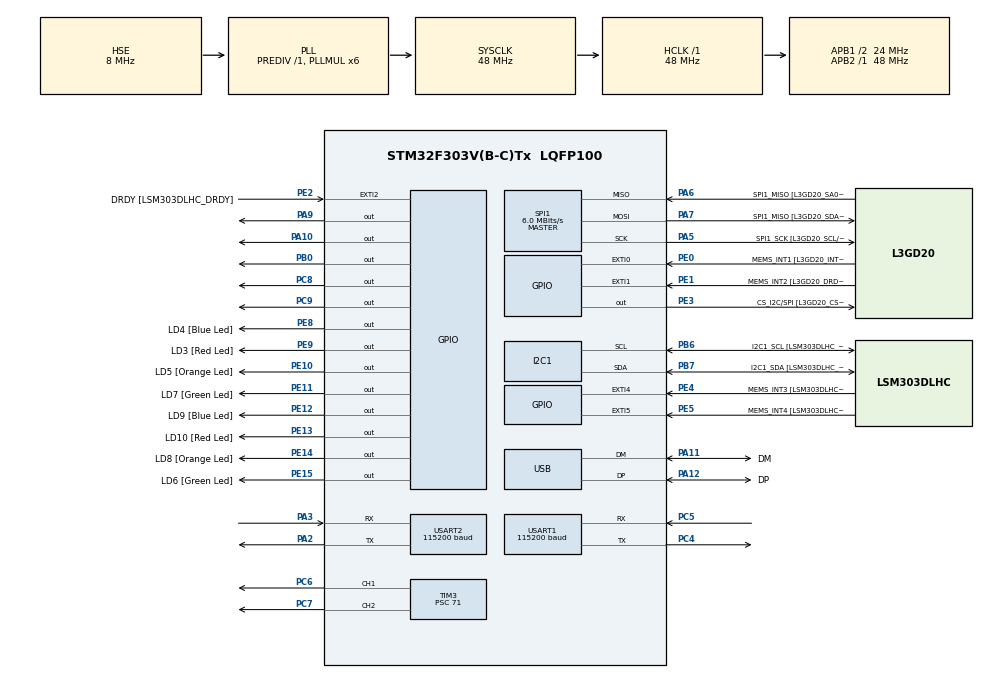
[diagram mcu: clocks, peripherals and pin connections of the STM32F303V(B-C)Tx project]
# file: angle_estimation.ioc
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I2C1.Timing=0x00201D2B
I2C1.Timing-I2C=0x2000090E
Mcu.Family=STM32F3
Mcu.Name=STM32F303V(B-C)Tx
Mcu.Package=LQFP100
NVIC.PriorityGroup=NVIC_PRIORITYGROUP_0
NVIC.SPI1_IRQn=true\:0\:0\:false\:false\:true\:true\:true\:true
NVIC.TIM2_IRQn=true\:0\:0\:false\:false\:true\:true\:true\:true
NVIC.USB_LP_CAN_RX0_IRQn=true\:0\:0\:false\:false\:true\:false\:true\:true
PA0.Signal=S_TIM2_CH1_ETR
PA10.Signal=GPIO_Output
PA11.GPIO_Label=DM
PA11.Mode=Device
PA11.Signal=USB_DM
PA12.GPIO_Label=DP
PA12.Mode=Device
PA12.Signal=USB_DP
PA13.GPIO_Label=SWDIO
PA13.Mode=Serial_Wire
PA13.Signal=SYS_JTMS-SWDIO
PA14.GPIO_Label=SWCLK
PA14.Mode=Serial_Wire
PA14.Signal=SYS_JTCK-SWCLK
PA2.Mode=Asynchronous
PA2.Signal=USART2_TX
PA3.Mode=Asynchronous
PA3.Signal=USART2_RX
PA5.GPIO_Label=SPI1_SCK [L3GD20_SCL/SPC]
PA5.Mode=Full_Duplex_Master
PA5.Signal=SPI1_SCK
PA6.GPIO_Label=SPI1_MISO [L3GD20_SA0/SDO]
PA6.Mode=Full_Duplex_Master
PA6.Signal=SPI1_MISO
PA7.GPIO_Label=SPI1_MISO [L3GD20_SDA/SDI/SDO]
PA7.Mode=Full_Duplex_Master
PA7.Signal=SPI1_MOSI
PA9.Signal=GPIO_Output
PB0.Signal=GPIO_Output
PB3.GPIO_Label=SWO
PB3.Signal=SYS_JTDO-TRACESWO
PB6.GPIO_Label=I2C1_SCL [LSM303DLHC_SCL]
PB6.GPIO_Pu=GPIO_PULLUP
PB6.Mode=I2C
PB6.Signal=I2C1_SCL
PB7.GPIO_Label=I2C1_SDA [LSM303DLHC_SDA]
PB7.GPIO_Pu=GPIO_PULLUP
PB7.Mode=I2C
PB7.Signal=I2C1_SDA
PC14-OSC32_IN.GPIO_Label=OSC32_IN
PC14-OSC32_IN.Signal=RCC_OSC32_IN
PC15-OSC32_OUT.GPIO_Label=OSC32_OUT
PC15-OSC32_OUT.Signal=RCC_OSC32_OUT
PC4.Mode=Asynchronous
PC4.Signal=USART1_TX
PC5.Mode=Asynchronous
PC5.Signal=USART1_RX
PC6.Signal=S_TIM3_CH1
PC7.Signal=S_TIM3_CH2
PC8.Signal=GPIO_Output
PC9.Signal=GPIO_Output
PE0.GPIO_Label=MEMS_INT1 [L3GD20_INT1]
PE0.GPIO_ModeDefaultEXTI=GPIO_MODE_EVT_RISING
PE0.Signal=GPXTI0
PE1.GPIO_Label=MEMS_INT2 [L3GD20_DRDY/INT2]
PE1.GPIO_ModeDefaultEXTI=GPIO_MODE_EVT_RISING
PE1.Signal=GPXTI1
PE10.GPIO_Label=LD5 [Orange Led]
PE10.Signal=GPIO_Output
PE11.GPIO_Label=LD7 [Green Led]
PE11.Signal=GPIO_Output
PE12.GPIO_Label=LD9 [Blue Led]
PE12.Signal=GPIO_Output
PE13.GPIO_Label=LD10 [Red Led]
PE13.Signal=GPIO_Output
PE14.GPIO_Label=LD8 [Orange Led]
PE14.Signal=GPIO_Output
PE15.GPIO_Label=LD6 [Green Led]
PE15.Signal=GPIO_Output
PE2.GPIO_Label=DRDY [LSM303DLHC_DRDY]
PE2.GPIO_ModeDefaultEXTI=GPIO_MODE_EVT_RISING
PE2.Signal=GPXTI2
PE3.GPIO_Label=CS_I2C/SPI [L3GD20_CS_I2C/SPI]
PE3.Signal=GPIO_Output
PE4.GPIO_Label=MEMS_INT3 [LSM303DLHC_INT1]
PE4.GPIO_ModeDefaultEXTI=GPIO_MODE_EVT_RISING
PE4.Signal=GPXTI4
PE5.GPIO_Label=MEMS_INT4 [LSM303DLHC_INT2]
PE5.GPIO_ModeDefaultEXTI=GPIO_MODE_EVT_RISING
PE5.Signal=GPXTI5
PE8.GPIO_Label=LD4 [Blue Led]
PE8.Signal=GPIO_Output
PE9.GPIO_Label=LD3 [Red Led]
PE9.Signal=GPIO_Output
PF0-OSC_IN.GPIO_Label=OSC_IN
PF0-OSC_IN.Mode=HSE-External-Clock-Source
PF0-OSC_IN.Signal=RCC_OSC_IN
PF1-OSC_OUT.GPIO_Label=OSC_OUT
PF1-OSC_OUT.Signal=RCC_OSC_OUT
ProjectManager.HeapSize=0x200
ProjectManager.StackSize=0x400
ProjectManager.TargetToolchain=CMake
RCC.AHBFreq_Value=48000000
RCC.APB1CLKDivider=RCC_HCLK_DIV2
RCC.APB1Freq_Value=24000000
RCC.APB1TimFreq_Value=48000000
RCC.APB2Freq_Value=48000000
RCC.APB2TimFreq_Value=48000000
RCC.CortexFreq_Value=48000000
RCC.HCLKFreq_Value=48000000
RCC.HSE_VALUE=8000000
RCC.HSI_VALUE=8000000
RCC.LSE_VALUE=32768
RCC.PLLMUL=RCC_PLL_MUL6
RCC.SYSCLKFreq_VALUE=48000000
RCC.SYSCLKSourceVirtual=RCC_SYSCLKSOURCE_PLLCLK
RCC.USBFreq_Value=48000000
SH.S_TIM2_CH1_ETR.0=TIM2_CH1
SH.S_TIM3_CH1.0=TIM3_CH1,PWM Generation1 CH1
SH.S_TIM3_CH2.0=TIM3_CH2,PWM Generation2 CH2
SPI1.BaudRatePrescaler=SPI_BAUDRATEPRESCALER_8
SPI1.BaudRatePrescaler-Full_Duplex_Master=SPI_BAUDRATEPRESCALER_2
SPI1.CLKPhase=SPI_PHASE_2EDGE
SPI1.CLKPolarity=SPI_POLARITY_HIGH
SPI1.CalculateBaudRate=6.0 MBits/s
SPI1.CalculateBaudRate-Full_Duplex_Master=24.0 MBits/s
SPI1.DataSize=SPI_DATASIZE_8BIT
SPI1.Direction=SPI_DIRECTION_2LINES
SPI1.Mode=SPI_MODE_MASTER
SPI1.Mode-Full_Duplex_Master=SPI_MODE_MASTER
SPI1.VirtualType=VM_MASTER
STMicroelectronics.X-CUBE-ALGOBUILD.1.4.0.LibraryCcDSPOoLibraryJjDSPOoLibrary=true
TIM2.Period=79
TIM2.Prescaler=5999
TIM3.Channel-PWM\ Generation1\ CH1=TIM_CHANNEL_1
TIM3.Channel-PWM\ Generation2\ CH2=TIM_CHANNEL_2
TIM3.Period=999
TIM3.Prescaler=71
USART1.BaudRate=115200
USART1.VirtualMode-Asynchronous=VM_ASYNC
USART2.BaudRate=115200
USART2.VirtualMode-Asynchronous=VM_ASYNC
USB_DEVICE.CLASS_NAME_FS=CDC
USB_DEVICE.VirtualMode=Cdc
USB_DEVICE.VirtualModeFS=Cdc_FS
VP_STMicroelectronics.X-CUBE-ALGOBUILD_VS_DSPOoLibraryJjLibrary_1.4.0_1.4.0.Mode=DSPOoLibraryJjLibrary
VP_TIM2_VS_ClockSourceINT.Mode=Internal
VP_USB_DEVICE_VS_USB_DEVICE_CDC_FS.Mode=CDC_FS
board=STM32F3DISCOVERY

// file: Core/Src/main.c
/* USER CODE BEGIN Header */
/**
  ******************************************************************************
  * @file           : main.c
  * @brief          : Main program body
  ******************************************************************************
  * @attention
  * Copyright (c) 2025 STMicroelectronics.
  * All rights reserved.
  ******************************************************************************
  */
/* USER CODE END Header */
#include "main.h"
#include "usb_device.h"

/* USER CODE BEGIN Includes */
#include <string.h>
#include <stdio.h>
#include <math.h>
#include <stdlib.h>   // ✅ abs(), labs()

#define RAD_TO_DEG 57.2957795f

// ================= CONTROL LOOP =================
#define CTRL_HZ     100.0f
#define DT_SEC      (1.0f/CTRL_HZ)     // 0.01s at 100Hz

// Complementary filter
#define ALPHA       0.98f              // 0.95–0.99 typical

// ================= AXIS / SIGN CONFIG =================
#define USE_PITCH_AXIS_Y   0   // 1 for AY-based pitch, 0 for AX-based pitch

// Flip angle direction if needed:
#define ANGLE_SIGN         (1.0f)

// Motor sign: flip if u>0 makes it fall more
#define MOTOR_SIGN         (-1.0f)
/* USER CODE END Includes */

/* USER CODE BEGIN PD */
// ---- Motor pins ----
// DIR1 = PA9, DIR2 = PA10
#define DIR1_PORT GPIOA
#define DIR1_PIN  GPIO_PIN_9
#define DIR2_PORT GPIOA
#define DIR2_PIN  GPIO_PIN_10

// PWM uses TIM3 CH1
#define PWM_TIMER   htim3
#define PWM_CH      TIM_CHANNEL_1
#define PWM_MAX     999   // TIM3 period = 999

// ---- Motor B pins ----
// DIR3 = PC8, DIR4 = PC9
#define DIR3_PORT GPIOC
#define DIR3_PIN  GPIO_PIN_8
#define DIR4_PORT GPIOC
#define DIR4_PIN  GPIO_PIN_9

// PWM B uses TIM3 CH2
#define PWM_CH_B  TIM_CHANNEL_2

static inline void Motors_SetDirection(int dir);
static inline void Motors_SetPWM(uint16_t pwm);
/* USER CODE END PD */

I2C_HandleTypeDef hi2c1;
SPI_HandleTypeDef hspi1;

TIM_HandleTypeDef htim2;
TIM_HandleTypeDef htim3;

UART_HandleTypeDef huart1;
UART_HandleTypeDef huart2;

/* USER CODE BEGIN PV */
/* -------- LSM303AGR (Accel over I2C) -------- */
#define LSM_A_ADDR_W      0x32
#define LSM_A_ADDR_R      0x33
#define LSM_A_CTRL1       0x20
#define LSM_A_CTRL4       0x23
#define LSM_A_OUT_X_L     0x28
#define LSM_A_AUTO_INC    0x80
#define LSM_A_G_PER_LSB   0.0039f   // g/LSB

/* -------- L3GD20 style Gyro (SPI) -------- */
#define GYRO_REG_WHOAMI    0x0F
#define GYRO_REG_CTRL1     0x20
#define GYRO_REG_CTRL4     0x23
#define GYRO_REG_OUT_X_L   0x28
#define GYRO_SPI_READ      0x80
#define GYRO_SPI_AUTO_INC  0x40

#define GYRO_CS_LOW()   HAL_GPIO_WritePin(GPIOE, CS_I2C_SPI_Pin, GPIO_PIN_RESET)
#define GYRO_CS_HIGH()  HAL_GPIO_WritePin(GPIOE, CS_I2C_SPI_Pin, GPIO_PIN_SET)

#define GYRO_DPS_PER_LSB  0.00875f  // ±250 dps scale

typedef struct {
    // raw values
    int16_t arx, ary, arz;
    int16_t grx, gry, grz;

    // converted values
    float ax, ay, az;   // g
    float gx, gy, gz;   // dps

    // calibrated
    float ax_off, ay_off, az_off;
    float gx_off, gy_off, gz_off;
} imu_t;

volatile uint8_t doCtrl = 0;   // set in TIM2 ISR @100Hz

static imu_t imu;

// ===== PID state =====
static float prev_angle = 0.0f; // previous angle for derivative calculation

// ===== Gains (tune) =====
static float Kp = 18.0f; // proportional gain
static float Ki = 0.6f; // integral gain
static float Kd = 1.2f;  // derivative gain

// scale to PWM
#define U_SCALE  30.0f

static float angle_deg = 0.0f;
static float accel_angle = 0.0f; // from accelerometer
static float gyro_rate = 0.0f;  // angular rate from gyro

static float pid_integral = 0.0f; // integral term
static float last_error = 0.0f; // for integral windup check

// Upright setpoint (deg) — tune mechanical offset
static float setpoint_deg = 0.0f; // target angle
/* USER CODE END PV */

void SystemClock_Config(void);
static void MX_GPIO_Init(void);
static void MX_I2C1_Init(void);
static void MX_SPI1_Init(void);
static void MX_TIM2_Init(void);
static void MX_USART1_UART_Init(void);
static void MX_USART2_UART_Init(void);
static void MX_TIM3_Init(void);
/* USER CODE BEGIN PFP */
HAL_StatusTypeDef LSM_Accel_Init(void);
HAL_StatusTypeDef LSM_Accel_Read(imu_t *m);

uint8_t gyro_read_u8(uint8_t reg);
void    gyro_write_u8(uint8_t reg, uint8_t val);
void    gyro_init_basic(void);
HAL_StatusTypeDef Gyro_Read(imu_t *m);

void Offset_Calibrate(imu_t *m);

int _write(int file, char *data, int len);
/* USER CODE END PFP */

/* USER CODE BEGIN 0 */
// ---------- LSM303AGR accel ----------
HAL_StatusTypeDef LSM_Accel_Init(void)
{
    uint8_t v;

    v = 0x67;  // 200Hz, XYZ ON
    if (HAL_I2C_Mem_Write(&hi2c1, LSM_A_ADDR_W, LSM_A_CTRL1,
                         I2C_MEMADD_SIZE_8BIT, &v, 1, 100) != HAL_OK)
        return HAL_ERROR;

    v = 0x00;  // ±2g
    if (HAL_I2C_Mem_Write(&hi2c1, LSM_A_ADDR_W, LSM_A_CTRL4,
                         I2C_MEMADD_SIZE_8BIT, &v, 1, 100) != HAL_OK)
        return HAL_ERROR;

    HAL_Delay(10);
    return HAL_OK;
}

HAL_StatusTypeDef LSM_Accel_Read(imu_t *m)
{
    uint8_t buf[6];

    if (HAL_I2C_Mem_Read(&hi2c1, LSM_A_ADDR_R, (LSM_A_OUT_X_L | LSM_A_AUTO_INC),
                         I2C_MEMADD_SIZE_8BIT, buf, 6, 100) != HAL_OK)
        return HAL_ERROR;

    m->arx = (int16_t)((buf[1] << 8) | buf[0]);
    m->ary = (int16_t)((buf[3] << 8) | buf[2]);
    m->arz = (int16_t)((buf[5] << 8) | buf[4]);

    // 10-bit left-justified -> >>6
    int16_t rx = m->arx >> 6;
    int16_t ry = m->ary >> 6;
    int16_t rz = m->arz >> 6;

    m->ax = rx * LSM_A_G_PER_LSB - m->ax_off;
    m->ay = ry * LSM_A_G_PER_LSB - m->ay_off;
    m->az = rz * LSM_A_G_PER_LSB - m->az_off;

    return HAL_OK;
}

// ---------- Gyro helpers ----------
uint8_t gyro_read_u8(uint8_t reg)
{
    uint8_t tx[2] = { (uint8_t)(reg | GYRO_SPI_READ), 0x00 };
    uint8_t rx[2] = {0};

    GYRO_CS_LOW();
    HAL_SPI_TransmitReceive(&hspi1, tx, rx, 2, HAL_MAX_DELAY);
    GYRO_CS_HIGH();

    return rx[1];
}

void gyro_write_u8(uint8_t reg, uint8_t val)
{
    uint8_t tx[2] = { (uint8_t)(reg & 0x7F), val };

    GYRO_CS_LOW();
    HAL_SPI_Transmit(&hspi1, tx, 2, HAL_MAX_DELAY);
    GYRO_CS_HIGH();
}

void gyro_init_basic(void)
{
    gyro_write_u8(GYRO_REG_CTRL1, 0x0F);  // power on + XYZ enable
    gyro_write_u8(GYRO_REG_CTRL4, 0x00);  // ±245 dps
    HAL_Delay(50);
}

HAL_StatusTypeDef Gyro_Read(imu_t *m)
{
    uint8_t reg = GYRO_REG_OUT_X_L | GYRO_SPI_READ | GYRO_SPI_AUTO_INC;
    uint8_t buf[6];

    GYRO_CS_LOW();
    HAL_SPI_Transmit(&hspi1, &reg, 1, 100);
    HAL_SPI_Receive(&hspi1, buf, 6, 100);
    GYRO_CS_HIGH();

    m->grx = (int16_t)(buf[1]<<8 | buf[0]);
    m->gry = (int16_t)(buf[3]<<8 | buf[2]);
    m->grz = (int16_t)(buf[5]<<8 | buf[4]);

    m->gx = m->grx * GYRO_DPS_PER_LSB - m->gx_off;
    m->gy = m->gry * GYRO_DPS_PER_LSB - m->gy_off;
    m->gz = m->grz * GYRO_DPS_PER_LSB - m->gz_off;

    return HAL_OK;
}

// ---------- Offset calibration ----------
void Offset_Calibrate(imu_t *m)
{
    const int N = 200;   // ✅ more samples = more stable offsets
    float sax=0, say=0, saz=0;
    float sgx=0, sgy=0, sgz=0;

    m->ax_off = m->ay_off = m->az_off = 0;
    m->gx_off = m->gy_off = m->gz_off = 0;

    for (int i=0; i<N; i++)
    {
        LSM_Accel_Read(m);
        Gyro_Read(m);

        sax += m->ax; say += m->ay; saz += m->az;
        sgx += m->gx; sgy += m->gy; sgz += m->gz;

        HAL_Delay(5);
    }

    m->ax_off = sax / N;
    m->ay_off = say / N;
    m->az_off = (saz / N) - 1.0f;  // remove gravity

    m->gx_off = sgx / N;
    m->gy_off = sgy / N;
    m->gz_off = sgz / N;
}

// ---------- printf retarget ----------
int _write(int file, char *data, int len)
{
    HAL_UART_Transmit(&huart1, (uint8_t*)data, len, HAL_MAX_DELAY);
    return len;
}

// ---------- Motor helpers ----------
static inline void Motors_SetDirection(int dir)
{
    if (dir >= 0) {
        HAL_GPIO_WritePin(DIR1_PORT, DIR1_PIN, GPIO_PIN_SET);
        HAL_GPIO_WritePin(DIR2_PORT, DIR2_PIN, GPIO_PIN_RESET);

        HAL_GPIO_WritePin(DIR3_PORT, DIR3_PIN, GPIO_PIN_SET);
        HAL_GPIO_WritePin(DIR4_PORT, DIR4_PIN, GPIO_PIN_RESET);
    } else {
        HAL_GPIO_WritePin(DIR1_PORT, DIR1_PIN, GPIO_PIN_RESET);
        HAL_GPIO_WritePin(DIR2_PORT, DIR2_PIN, GPIO_PIN_SET);

        HAL_GPIO_WritePin(DIR3_PORT, DIR3_PIN, GPIO_PIN_RESET);
        HAL_GPIO_WritePin(DIR4_PORT, DIR4_PIN, GPIO_PIN_SET);
    }
}

static inline void Motors_SetPWM(uint16_t pwm)
{
    if (pwm > PWM_MAX) pwm = PWM_MAX;
    __HAL_TIM_SET_COMPARE(&htim3, PWM_CH, pwm);
    __HAL_TIM_SET_COMPARE(&htim3, PWM_CH_B, pwm);
}

static void Calibrate_Setpoint(void)
{
    printf("Hold robot upright & still for setpoint...\r\n");

    float sp_sum = 0.0f;
    const int SP_N = 100; // 1 sec at 100Hz

    for (int i = 0; i < SP_N; i++)
    {
        LSM_Accel_Read(&imu);
        Gyro_Read(&imu);

    #if USE_PITCH_AXIS_Y
        float acc = atan2f(imu.ay, imu.az) * RAD_TO_DEG;
        float gyr = imu.gy;
    #else
        float acc = atan2f(imu.ax, imu.az) * RAD_TO_DEG;
        float gyr = imu.gx;
    #endif
        acc *= ANGLE_SIGN;
        gyr *= ANGLE_SIGN;

        if (i == 0) angle_deg = acc;

        angle_deg = ALPHA * (angle_deg + gyr * DT_SEC)
                  + (1.0f - ALPHA) * acc;

        sp_sum += angle_deg;
        HAL_Delay(10);
    }

    setpoint_deg = sp_sum / SP_N;
    printf("Setpoint = %.2f deg\r\n", setpoint_deg);
}
/* USER CODE END 0 */

int main(void)
{
   HAL_Init();
  SystemClock_Config();

  MX_GPIO_Init();
  MX_I2C1_Init();
  MX_SPI1_Init();
  MX_TIM2_Init();
  MX_TIM3_Init();
  MX_USART1_UART_Init();
  MX_USART2_UART_Init();
  MX_USB_DEVICE_Init();

  /* USER CODE BEGIN 2 */
  HAL_TIM_Base_Start_IT(&htim2);   // ✅ 100 Hz control ticker

  // init accel
  if (HAL_I2C_IsDeviceReady(&hi2c1, LSM_A_ADDR_W, 3, 50) == HAL_OK) {
      if (LSM_Accel_Init() == HAL_OK)
          printf("LSM accel init OK\r\n");
      else
          printf("LSM accel init FAIL\r\n");
  } else {
      printf("LSM accel not found on I2C\r\n");
  }

  // init gyro
  gyro_init_basic();
  uint8_t who = gyro_read_u8(GYRO_REG_WHOAMI);
  printf("GYRO WHOAMI=0x%02X\r\n", who);

  // offset calibration (keep board still!)
  printf("Calibrating offsets...\r\n");
  Offset_Calibrate(&imu);
  printf("Done.\r\n");

  HAL_TIM_PWM_Start(&htim3, TIM_CHANNEL_1);
  HAL_TIM_PWM_Start(&htim3, TIM_CHANNEL_2);

  Calibrate_Setpoint();
  // seed previous angle
  prev_angle = 0.0f;
  /* USER CODE END 2 */

  /* Infinite loop */
  /* USER CODE BEGIN WHILE */
  while (1)
  {
    char buf[80];
        int n = snprintf(buf, sizeof(buf),
                         "%.3f,%.3f,%.3f\r\n",
                         angle_deg,
                         imu.gy,
                         angle_deg);

        HAL_UART_Transmit(&huart1, (uint8_t*)buf, n, 100);   // terminal
  }
  /* USER CODE END WHILE */
}

void SystemClock_Config(void)
{
  RCC_OscInitTypeDef RCC_OscInitStruct = {0};
  RCC_ClkInitTypeDef RCC_ClkInitStruct = {0};
  RCC_PeriphCLKInitTypeDef PeriphClkInit = {0};

  RCC_OscInitStruct.OscillatorType = RCC_OSCILLATORTYPE_HSI|RCC_OSCILLATORTYPE_HSE;
  RCC_OscInitStruct.HSEState = RCC_HSE_BYPASS;
  RCC_OscInitStruct.HSEPredivValue = RCC_HSE_PREDIV_DIV1;
  RCC_OscInitStruct.HSIState = RCC_HSI_ON;
  RCC_OscInitStruct.HSICalibrationValue = RCC_HSICALIBRATION_DEFAULT;
  RCC_OscInitStruct.PLL.PLLState = RCC_PLL_ON;
  RCC_OscInitStruct.PLL.PLLSource = RCC_PLLSOURCE_HSE;
  RCC_OscInitStruct.PLL.PLLMUL = RCC_PLL_MUL6;
  if (HAL_RCC_OscConfig(&RCC_OscInitStruct) != HAL_OK)
  {
    Error_Handler();
  }

  RCC_ClkInitStruct.ClockType = RCC_CLOCKTYPE_HCLK|RCC_CLOCKTYPE_SYSCLK
                              |RCC_CLOCKTYPE_PCLK1|RCC_CLOCKTYPE_PCLK2;
  RCC_ClkInitStruct.SYSCLKSource = RCC_SYSCLKSOURCE_PLLCLK;
  RCC_ClkInitStruct.AHBCLKDivider = RCC_SYSCLK_DIV1;
  RCC_ClkInitStruct.APB1CLKDivider = RCC_HCLK_DIV2;
  RCC_ClkInitStruct.APB2CLKDivider = RCC_HCLK_DIV1;

  if (HAL_RCC_ClockConfig(&RCC_ClkInitStruct, FLASH_LATENCY_1) != HAL_OK)
  {
    Error_Handler();
  }

  PeriphClkInit.PeriphClockSelection = RCC_PERIPHCLK_USB|RCC_PERIPHCLK_USART1
                              |RCC_PERIPHCLK_USART2|RCC_PERIPHCLK_I2C1;
  PeriphClkInit.Usart1ClockSelection = RCC_USART1CLKSOURCE_PCLK2;
  PeriphClkInit.Usart2ClockSelection = RCC_USART2CLKSOURCE_PCLK1;
  PeriphClkInit.I2c1ClockSelection = RCC_I2C1CLKSOURCE_HSI;
  PeriphClkInit.USBClockSelection = RCC_USBCLKSOURCE_PLL;
  if (HAL_RCCEx_PeriphCLKConfig(&PeriphClkInit) != HAL_OK)
  {
    Error_Handler();
  }
}

static void MX_I2C1_Init(void)
{
  hi2c1.Instance = I2C1;
  hi2c1.Init.Timing = 0x00201D2B;
  hi2c1.Init.OwnAddress1 = 0;
  hi2c1.Init.AddressingMode = I2C_ADDRESSINGMODE_7BIT;
  hi2c1.Init.DualAddressMode = I2C_DUALADDRESS_DISABLE;
  hi2c1.Init.OwnAddress2 = 0;
  hi2c1.Init.OwnAddress2Masks = I2C_OA2_NOMASK;
  hi2c1.Init.GeneralCallMode = I2C_GENERALCALL_DISABLE;
  hi2c1.Init.NoStretchMode = I2C_NOSTRETCH_DISABLE;
  if (HAL_I2C_Init(&hi2c1) != HAL_OK)
  {
    Error_Handler();
  }

  if (HAL_I2CEx_ConfigAnalogFilter(&hi2c1, I2C_ANALOGFILTER_ENABLE) != HAL_OK)
  {
    Error_Handler();
  }

  if (HAL_I2CEx_ConfigDigitalFilter(&hi2c1, 0) != HAL_OK)
  {
    Error_Handler();
  }
}

static void MX_SPI1_Init(void)
{
  hspi1.Instance = SPI1;
  hspi1.Init.Mode = SPI_MODE_MASTER;
  hspi1.Init.Direction = SPI_DIRECTION_2LINES;
  hspi1.Init.DataSize = SPI_DATASIZE_8BIT;
  hspi1.Init.CLKPolarity = SPI_POLARITY_HIGH;
  hspi1.Init.CLKPhase = SPI_PHASE_2EDGE;
  hspi1.Init.NSS = SPI_NSS_SOFT;
  hspi1.Init.BaudRatePrescaler = SPI_BAUDRATEPRESCALER_8;
  hspi1.Init.FirstBit = SPI_FIRSTBIT_MSB;
  hspi1.Init.TIMode = SPI_TIMODE_DISABLE;
  hspi1.Init.CRCCalculation = SPI_CRCCALCULATION_DISABLE;
  hspi1.Init.CRCPolynomial = 7;
  hspi1.Init.CRCLength = SPI_CRC_LENGTH_DATASIZE;
  hspi1.Init.NSSPMode = SPI_NSS_PULSE_DISABLE;
  if (HAL_SPI_Init(&hspi1) != HAL_OK)
  {
    Error_Handler();
  }
}

static void MX_TIM2_Init(void)
{
  TIM_ClockConfigTypeDef sClockSourceConfig = {0};
  TIM_MasterConfigTypeDef sMasterConfig = {0};

  HAL_NVIC_SetPriority(TIM2_IRQn, 1, 0);
  HAL_NVIC_EnableIRQ(TIM2_IRQn);

  htim2.Instance = TIM2;
  htim2.Init.Prescaler = 5999;
  htim2.Init.CounterMode = TIM_COUNTERMODE_UP;
  htim2.Init.Period = 79;
  htim2.Init.ClockDivision = TIM_CLOCKDIVISION_DIV1;
  htim2.Init.AutoReloadPreload = TIM_AUTORELOAD_PRELOAD_DISABLE;
  if (HAL_TIM_Base_Init(&htim2) != HAL_OK)
  {
    Error_Handler();
  }

  sClockSourceConfig.ClockSource = TIM_CLOCKSOURCE_INTERNAL;
  if (HAL_TIM_ConfigClockSource(&htim2, &sClockSourceConfig) != HAL_OK)
  {
    Error_Handler();
  }

  sMasterConfig.MasterOutputTrigger = TIM_TRGO_RESET;
  sMasterConfig.MasterSlaveMode = TIM_MASTERSLAVEMODE_DISABLE;
  if (HAL_TIMEx_MasterConfigSynchronization(&htim2, &sMasterConfig) != HAL_OK)
  {
    Error_Handler();
  }
}

static void MX_TIM3_Init(void)
{
  TIM_MasterConfigTypeDef sMasterConfig = {0};
  TIM_OC_InitTypeDef sConfigOC = {0};

  htim3.Instance = TIM3;
  htim3.Init.Prescaler = 71;
  htim3.Init.CounterMode = TIM_COUNTERMODE_UP;
  htim3.Init.Period = 999;
  htim3.Init.ClockDivision = TIM_CLOCKDIVISION_DIV1;
  htim3.Init.AutoReloadPreload = TIM_AUTORELOAD_PRELOAD_DISABLE;
  if (HAL_TIM_PWM_Init(&htim3) != HAL_OK)
  {
    Error_Handler();
  }

  sMasterConfig.MasterOutputTrigger = TIM_TRGO_RESET;
  sMasterConfig.MasterSlaveMode = TIM_MASTERSLAVEMODE_DISABLE;
  if (HAL_TIMEx_MasterConfigSynchronization(&htim3, &sMasterConfig) != HAL_OK)
  {
    Error_Handler();
  }

  sConfigOC.OCMode = TIM_OCMODE_PWM1;
  sConfigOC.Pulse = 0;
  sConfigOC.OCPolarity = TIM_OCPOLARITY_HIGH;
  sConfigOC.OCFastMode = TIM_OCFAST_DISABLE;
  if (HAL_TIM_PWM_ConfigChannel(&htim3, &sConfigOC, TIM_CHANNEL_1) != HAL_OK)
  {
    Error_Handler();
  }
  if (HAL_TIM_PWM_ConfigChannel(&htim3, &sConfigOC, TIM_CHANNEL_2) != HAL_OK)
  {
    Error_Handler();
  }

  HAL_TIM_MspPostInit(&htim3);
}

static void MX_USART1_UART_Init(void)
{
  huart1.Instance = USART1;
  huart1.Init.BaudRate = 115200;
  huart1.Init.WordLength = UART_WORDLENGTH_8B;
  huart1.Init.StopBits = UART_STOPBITS_1;
  huart1.Init.Parity = UART_PARITY_NONE;
  huart1.Init.Mode = UART_MODE_TX_RX;
  huart1.Init.HwFlowCtl = UART_HWCONTROL_NONE;
  huart1.Init.OverSampling = UART_OVERSAMPLING_16;
  huart1.Init.OneBitSampling = UART_ONE_BIT_SAMPLE_DISABLE;
  huart1.AdvancedInit.AdvFeatureInit = UART_ADVFEATURE_NO_INIT;
  if (HAL_UART_Init(&huart1) != HAL_OK)
  {
    Error_Handler();
  }
}

static void MX_USART2_UART_Init(void)
{
  huart2.Instance = USART2;
  huart2.Init.BaudRate = 9600;
  huart2.Init.WordLength = UART_WORDLENGTH_8B;
  huart2.Init.StopBits = UART_STOPBITS_1;
  huart2.Init.Parity = UART_PARITY_NONE;
  huart2.Init.Mode = UART_MODE_TX_RX;
  huart2.Init.HwFlowCtl = UART_HWCONTROL_NONE;
  huart2.Init.OverSampling = UART_OVERSAMPLING_16;
  huart2.Init.OneBitSampling = UART_ONE_BIT_SAMPLE_DISABLE;
  huart2.AdvancedInit.AdvFeatureInit = UART_ADVFEATURE_NO_INIT;
  if (HAL_UART_Init(&huart2) != HAL_OK)
  {
    Error_Handler();
  }
}

static void MX_GPIO_Init(void)
{
  GPIO_InitTypeDef GPIO_InitStruct = {0};

  __HAL_RCC_GPIOE_CLK_ENABLE();
  __HAL_RCC_GPIOC_CLK_ENABLE();
  __HAL_RCC_GPIOF_CLK_ENABLE();
  __HAL_RCC_GPIOA_CLK_ENABLE();
  __HAL_RCC_GPIOB_CLK_ENABLE();

  HAL_GPIO_WritePin(GPIOE, CS_I2C_SPI_Pin|LD4_Pin|LD3_Pin|LD5_Pin
                          |LD7_Pin|LD9_Pin|LD10_Pin|LD8_Pin
                          |LD6_Pin, GPIO_PIN_RESET);

  HAL_GPIO_WritePin(GPIOB, GPIO_PIN_0, GPIO_PIN_RESET);
  HAL_GPIO_WritePin(GPIOC, GPIO_PIN_8|GPIO_PIN_9, GPIO_PIN_RESET);
  HAL_GPIO_WritePin(GPIOA, GPIO_PIN_9|GPIO_PIN_10, GPIO_PIN_RESET);

  GPIO_InitStruct.Pin = DRDY_Pin|MEMS_INT3_Pin|MEMS_INT4_Pin|MEMS_INT1_Pin
                          |MEMS_INT2_Pin;
  GPIO_InitStruct.Mode = GPIO_MODE_EVT_RISING;
  GPIO_InitStruct.Pull = GPIO_NOPULL;
  HAL_GPIO_Init(GPIOE, &GPIO_InitStruct);

  GPIO_InitStruct.Pin = CS_I2C_SPI_Pin|LD4_Pin|LD3_Pin|LD5_Pin
                          |LD7_Pin|LD9_Pin|LD10_Pin|LD8_Pin
                          |LD6_Pin;
  GPIO_InitStruct.Mode = GPIO_MODE_OUTPUT_PP;
  GPIO_InitStruct.Pull = GPIO_NOPULL;
  GPIO_InitStruct.Speed = GPIO_SPEED_FREQ_LOW;
  HAL_GPIO_Init(GPIOE, &GPIO_InitStruct);

  GPIO_InitStruct.Pin = GPIO_PIN_0;
  GPIO_InitStruct.Mode = GPIO_MODE_OUTPUT_PP;
  GPIO_InitStruct.Pull = GPIO_NOPULL;
  GPIO_InitStruct.Speed = GPIO_SPEED_FREQ_LOW;
  HAL_GPIO_Init(GPIOB, &GPIO_InitStruct);

  GPIO_InitStruct.Pin = GPIO_PIN_8|GPIO_PIN_9;
  GPIO_InitStruct.Mode = GPIO_MODE_OUTPUT_PP;
  GPIO_InitStruct.Pull = GPIO_NOPULL;
  GPIO_InitStruct.Speed = GPIO_SPEED_FREQ_LOW;
  HAL_GPIO_Init(GPIOC, &GPIO_InitStruct);

  GPIO_InitStruct.Pin = GPIO_PIN_9|GPIO_PIN_10;
  GPIO_InitStruct.Mode = GPIO_MODE_OUTPUT_PP;
  GPIO_InitStruct.Pull = GPIO_NOPULL;
  GPIO_InitStruct.Speed = GPIO_SPEED_FREQ_LOW;
  HAL_GPIO_Init(GPIOA, &GPIO_InitStruct);
}

/* USER CODE BEGIN 4 */
void HAL_TIM_PeriodElapsedCallback(TIM_HandleTypeDef *htim)
{
    if (htim->Instance != TIM2) return;

    // ---------------- 1) READ IMU ----------------
    if (LSM_Accel_Read(&imu) != HAL_OK) return;
    if (Gyro_Read(&imu) != HAL_OK) return;

    // accel angle (same axis choice as your code)
#if USE_PITCH_AXIS_Ywhile
    accel_angle = atan2f(imu.ay, imu.az) * RAD_TO_DEG;
    gyro_rate   = imu.gy;   // dps
#else
    accel_angle = atan2f(imu.ax, imu.az) * RAD_TO_DEG;
    gyro_rate   = imu.gx;
#endif
    accel_angle *= ANGLE_SIGN;
    gyro_rate   *= ANGLE_SIGN;

    // init filter once
    // (helps reduce initial spike)
    static uint8_t first_init = 1;
    if (first_init) {
        angle_deg = accel_angle;
        first_init = 0;
    }

    // ---------------- 2) COMPLEMENTARY FILTER ----------------
    // fuse accel & gyro to get angle
    angle_deg = ALPHA * (angle_deg + gyro_rate * DT_SEC)
              + (1.0f - ALPHA) * accel_angle;

    // ---------------- 3) ERROR ----------------
    // computes how far the angle is from setpoint
    float error = setpoint_deg - angle_deg;

    // deadband near upright
    // helps prevent oscillation at small angles
    const float DEADBAND = 0.15f;
    if (fabsf(error) < DEADBAND) {
      error = 0.0f;
      pid_integral *= 0.995f;
    }

    // clamp error so it doesn't explode
    const float MAX_ERR = 12.0f;
    if (error >  MAX_ERR) error =  MAX_ERR;
    if (error < -MAX_ERR) error = -MAX_ERR;

    // ---------------- 4) PID ----------------
    // integral term with windup guard
    pid_integral += error * DT_SEC;
    if (pid_integral >  20.0f) pid_integral =  20.0f;
    if (pid_integral < -20.0f) pid_integral = -20.0f;

    // derivative term helps damping
    float derivative = (error - last_error) / DT_SEC;
    last_error = error;

    // control signal
    float u = (Kp*error + Ki*pid_integral + Kd*derivative) * U_SCALE;

    // motor sign
    u *= MOTOR_SIGN;
    // ---------------- 5) DRIVE MOTORS ----------------
    // clamp to PWM limits (0-999)
    if (u >  PWM_MAX) u =  PWM_MAX;
    if (u < -PWM_MAX) u = -PWM_MAX;

    // absolute value for PWM
    float u_abs = fabsf(u);

    // stronger kick helps a lot
    const float PWM_MIN = 260.0f;
    if (u_abs > 0 && u_abs < PWM_MIN) u_abs = PWM_MIN;

    // set motor direction & PWM
    Motors_SetDirection(u >= 0 ? 1 : -1);
    Motors_SetPWM((uint16_t)u_abs);

    // 5) Bluetooth stream
      }
/* USER CODE END 4 */

void Error_Handler(void)
{
  __disable_irq();
  while (1)
  {
  }
}
